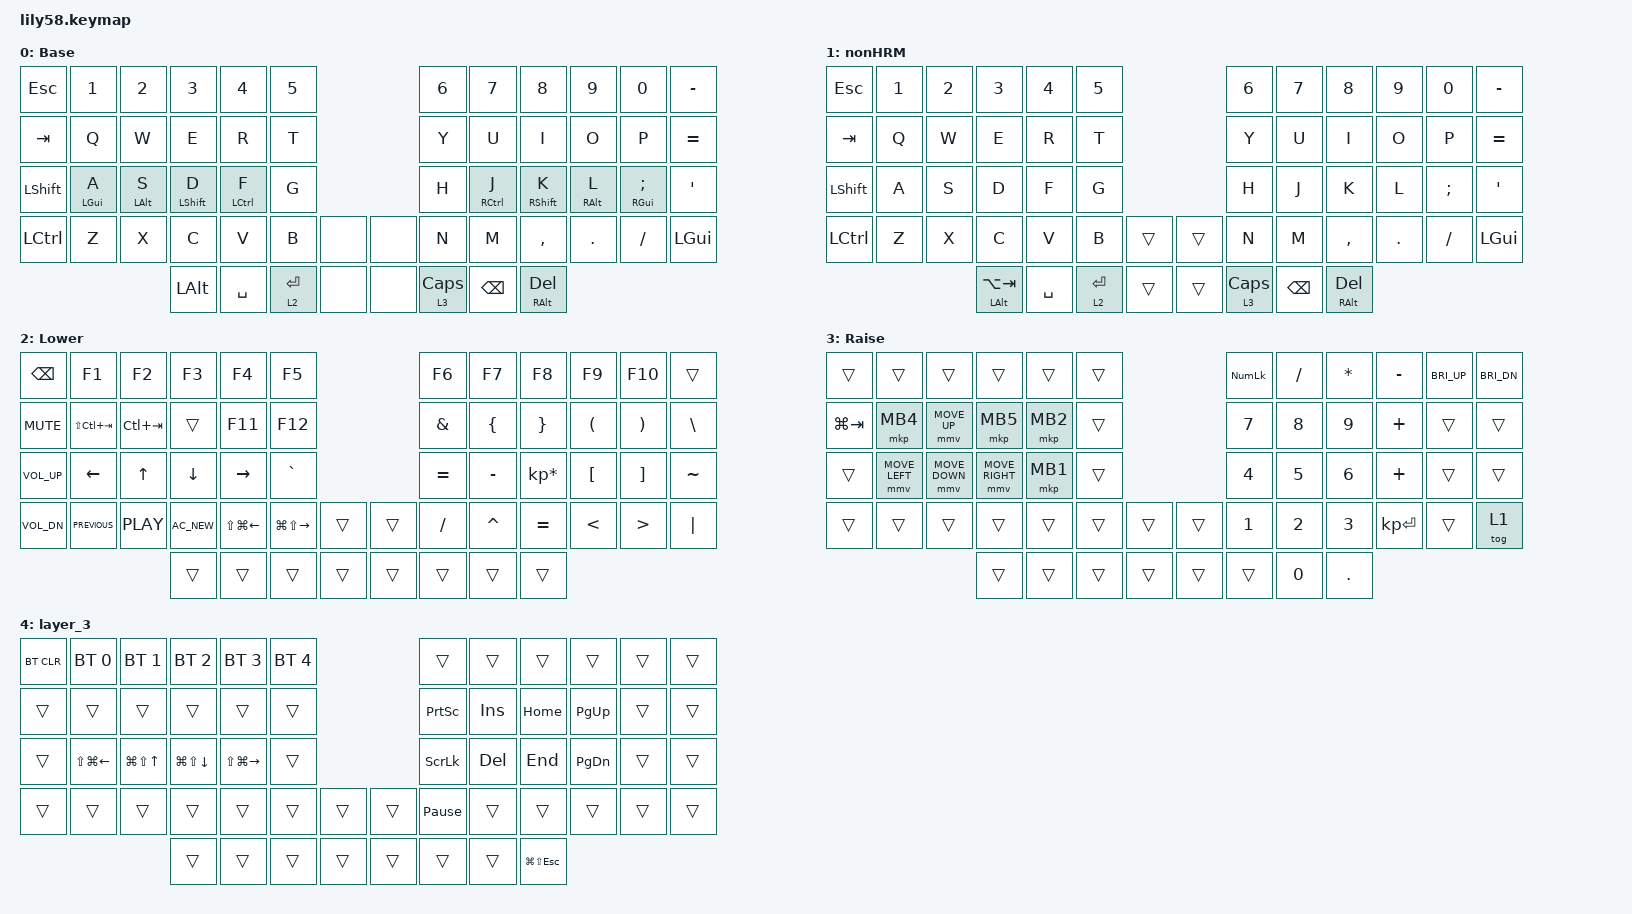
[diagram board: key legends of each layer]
/*
 * Copyright (c) 2020 The ZMK Contributors
 *
 * SPDX-License-Identifier: MIT
 */

#include <behaviors.dtsi>
#include <dt-bindings/zmk/bt.h>
#include <dt-bindings/zmk/keys.h>
#include <dt-bindings/zmk/pointing.h>

/ {
    behaviors {
        HMR: HMR {
            compatible = "zmk,behavior-hold-tap";
            label = "HMR";
            bindings = <&kp>, <&kp>;

            #binding-cells = <2>;
            tapping-term-ms = <200>;
            flavor = "tap-preferred";
            hold-trigger-key-positions = <31 32 33 34>;
        };

        HML: HML {
            compatible = "zmk,behavior-hold-tap";
            label = "HML";
            bindings = <&kp>, <&kp>;

            #binding-cells = <2>;
            tapping-term-ms = <200>;
            flavor = "tap-preferred";
            hold-trigger-key-positions = <25 26 27 28>;
        };

        HPM: HPM {
            compatible = "zmk,behavior-hold-tap";
            label = "HPM";
            bindings = <&mmv>, <&kp>;

            #binding-cells = <2>;
            tapping-term-ms = <200>;
        };
    };

    keymap {
        compatible = "zmk,keymap";

        HRM {
            // ------------------------------------------------------------------------------------------------------------
            // |  ESC  |  1  |  2  |  3   |  4   |  5   |                   |  6   |  7    |  8    |  9   |   0   |   `   |
            // |  TAB  |  Q  |  W  |  E   |  R   |  T   |                   |  Y   |  U    |  I    |  O   |   P   |   -   |
            // |  CTRL |  A  |  S  |  D   |  F   |  G   |                   |  H   |  J    |  K    |  L   |   ;   |   '   |
            // | SHIFT |  Z  |  X  |  C   |  V   |  B   |   "["  |  |  "]"  |  N   |  M    |  ,    |  .   |   /   | SHIFT |
            //                     | ALT  | GUI  | LOWER|  SPACE |  | ENTER | RAISE| BSPC  | GUI   |

            display-name = "Base";
            bindings = <
&kp ESC           &kp N1           &kp N2           &kp N3             &kp N4               &kp N5                       &kp N6      &kp N7        &kp N8                &kp N9            &kp N0               &kp MINUS
&kp TAB           &kp Q            &kp W            &kp E              &kp R                &kp T                        &kp Y       &kp U         &kp I                 &kp O             &kp P                &kp EQUAL
&kp LSHIFT        &HML LEFT_GUI A  &HML LEFT_ALT S  &HML LEFT_SHIFT D  &HML LEFT_CONTROL F  &kp G                        &kp H       &HMR RCTRL J  &HMR RIGHT_SHIFT K    &HMR RIGHT_ALT L  &HMR RIGHT_GUI SEMI  &kp SQT
&kp LEFT_CONTROL  &kp Z            &kp X            &kp C              &kp V                &kp B        &none    &none  &kp N       &kp M         &kp COMMA             &kp DOT           &kp FSLH             &kp LEFT_GUI
                                                    &kp LALT           &kp SPACE            &lt 2 ENTER  &none    &none  &lt 3 CAPS  &kp BSPC      &mt RIGHT_ALT DELETE
            >;
        };

        nonHRM {
            bindings = <
&kp ESC    &kp N1  &kp N2  &kp N3            &kp N4     &kp N5                         &kp N6      &kp N7    &kp N8                &kp N9   &kp N0    &kp MINUS
&kp TAB    &kp Q   &kp W   &kp E             &kp R      &kp T                          &kp Y       &kp U     &kp I                 &kp O    &kp P     &kp EQUAL
&kp LSHFT  &kp A   &kp S   &kp D             &kp F      &kp G                          &kp H       &kp J     &kp K                 &kp L    &kp SEMI  &kp APOS
&kp LCTRL  &kp Z   &kp X   &kp C             &kp V      &kp B        &trans    &trans  &kp N       &kp M     &kp COMMA             &kp DOT  &kp FSLH  &kp LGUI
                           &mt LALT LA(TAB)  &kp SPACE  &lt 2 ENTER  &trans    &trans  &lt 3 CAPS  &kp BSPC  &mt RIGHT_ALT DELETE
            >;
        };

        lower_layer {
            // ------------------------------------------------------------------------------------------------------------
            // | BTCLR | BT1 | BT2 |  BT3 |  BT4 |  BT5 |                   |      |       |       |      |       |       |
            // |  F1   |  F2 |  F3 |  F4  |  F5  |  F6  |                   |  F7  |  F8   |  F9   |  F10 |  F11  |  F12  |
            // |   `   |  !  |  @  |  #   |  $   |  %   |                   |  ^   |  &    |  *    |  (   |   )   |   ~   |
            // |       |     |     |      |      |      |        |  |       |      |  _    |  +    |  {   |   }   |  "|"  |
            //                     |      |      |      |        |  |       |      |       |       |

            display-name = "Lower";
            bindings = <
&kp BSPC         &kp F1           &kp F2        &kp F3        &kp F4                  &kp F5                               &kp F6         &kp F7          &kp F8           &kp F9                &kp F10                &trans
&kp C_MUTE       &kp LS(LC(TAB))  &kp LC(TAB)   &trans        &kp F11                 &kp F12                              &kp AMPERSAND  &kp LEFT_BRACE  &kp RIGHT_BRACE  &kp LEFT_PARENTHESIS  &kp RIGHT_PARENTHESIS  &kp BSLH
&kp C_VOLUME_UP  &kp LEFT         &kp UP_ARROW  &kp DOWN      &kp RIGHT               &kp GRAVE                            &kp EQUAL      &kp MINUS       &kp KP_MULTIPLY  &kp LEFT_BRACKET      &kp RIGHT_BRACKET      &kp TILDE
&kp C_VOL_DN     &kp C_PREVIOUS   &kp C_PLAY    &kp C_AC_NEW  &kp LS(LG(LEFT_ARROW))  &kp LG(LS(RIGHT))  &trans    &trans  &kp SLASH      &kp CARET       &kp EQUAL        &kp LESS_THAN         &kp GREATER_THAN       &kp PIPE
                                                &trans        &trans                  &trans             &trans    &trans  &trans         &trans          &trans
            >;
        };

        raise_layer {
            // ------------------------------------------------------------------------------------------------------------
            // |       |     |     |      |      |      |                   |      |       |       |      |       |       |
            // |   `   |  1  |  2  |  3   |  4   |  5   |                   |  6   |   7   |   8   |  9   |   0   |       |
            // |   F1  |  F2 |  F3 |  F4  |  F5  |  F6  |                   |      |   <-  |   v   |  ^   |  ->   |       |
            // |   F7  |  F8 |  F9 |  F10 |  F11 |  F12 |        |  |       |  +   |   -   |   =   |  [   |   ]   |   \   |
            //                     |      |      |      |        |  |       |      |       |       |

            display-name = "Raise";
            bindings = <
&trans       &trans          &trans          &trans           &trans    &trans                    &kp KP_NUMLOCK  &kp FSLH  &kp ASTERISK  &kp MINUS     &kp C_BRI_UP  &kp C_BRI_DN
&kp LG(TAB)  &mkp MB4        &mmv MOVE_UP    &mkp MB5         &mkp MB2  &trans                    &kp N7          &kp N8    &kp N9        &kp PLUS      &trans        &trans
&trans       &mmv MOVE_LEFT  &mmv MOVE_DOWN  &mmv MOVE_RIGHT  &mkp MB1  &trans                    &kp NUMBER_4    &kp N5    &kp NUMBER_6  &kp PLUS      &trans        &trans
&trans       &trans          &trans          &trans           &trans    &trans  &trans    &trans  &kp N1          &kp N2    &kp N3        &kp KP_ENTER  &trans        &tog 1
                                             &trans           &trans    &trans  &trans    &trans  &trans          &kp N0    &kp DOT
            >;
        };

        layer_3 {
            bindings = <
&bt BT_CLR  &bt BT_SEL 0            &bt BT_SEL 1          &bt BT_SEL 2      &bt BT_SEL 3       &bt BT_SEL 4                    &trans           &trans      &trans              &trans         &trans  &trans
&trans      &trans                  &trans                &trans            &trans             &trans                          &kp PRINTSCREEN  &kp INSERT  &kp HOME            &kp PAGE_UP    &trans  &trans
&trans      &kp LS(LG(LEFT_ARROW))  &kp LG(LS(UP_ARROW))  &kp LG(LS(DOWN))  &kp LS(LG(RIGHT))  &trans                          &kp SCROLLLOCK   &kp DEL     &kp END             &kp PAGE_DOWN  &trans  &trans
&trans      &trans                  &trans                &trans            &trans             &trans        &trans    &trans  &kp PAUSE_BREAK  &trans      &trans              &trans         &trans  &trans
                                                          &trans            &trans             &trans        &trans    &trans  &trans           &trans      &kp LG(LS(ESCAPE))
            >;
        };
    };

    conditional_layers {
        compatible = "zmk,conditional-layers";

        layer3 {
            if-layers = <2 3>;
            then-layer = <4>;
        };
    };
};
